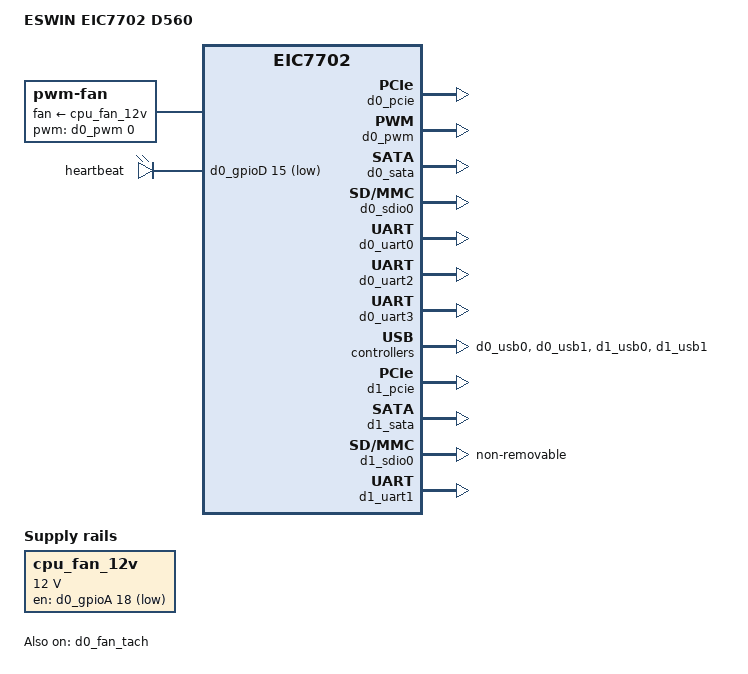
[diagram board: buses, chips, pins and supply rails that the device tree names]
// SPDX-License-Identifier: GPL-2.0-only
/*
 * ESWIN D560 carrier with the SOM560 module
 * Copyright (c) 2026 Beijing ESWIN Computing Technology Co., Ltd.
 */

/dts-v1/;

#include "eic7702-eswin-som560.dtsi"
#include <dt-bindings/gpio/gpio.h>
#include <dt-bindings/pwm/pwm.h>

/ {
	model = "ESWIN EIC7702 D560";
	compatible = "eswin,eic7702-d560", "eswin,eic7702";

	chosen {
		stdout-path = "serial0:115200n8";
	};

	pwm-fan {
		compatible = "pwm-fan";
		fan-supply = <&cpu_fan_12v>;
		/* Q24 pulls J15 pin 4 low when D0 FAN_PWM is high. */
		pwms = <&d0_pwm 0 40000 PWM_POLARITY_INVERTED>;
		fan-shutdown-percent = <100>;
	};

	cpu_fan_12v: regulator-cpu-fan {
		compatible = "regulator-fixed";
		regulator-name = "cpu-fan-12v";
		regulator-min-microvolt = <12000000>;
		regulator-max-microvolt = <12000000>;
		regulator-boot-on;
		regulator-always-on;
		pinctrl-names = "default";
		pinctrl-0 = <&d0_gpio18_pins>;
		gpio = <&d0_gpioA 18 GPIO_ACTIVE_LOW>;
	};

	leds {
		compatible = "gpio-leds";
		pinctrl-names = "default";
		pinctrl-0 = <&d0_gpio111_pins>;

		led-0 {
			gpios = <&d0_gpioD 15 GPIO_ACTIVE_LOW>;
			label = "heartbeat";
			linux,default-trigger = "heartbeat";
		};
	};
};

&d0_fan_tach {
	pinctrl-names = "default";
	pinctrl-0 = <&d0_fan_tach_pins>;
	pulses-per-revolution = <2>;
	status = "okay";
};

&d0_pcie {
	status = "okay";
	pinctrl-names = "default";
	pinctrl-0 = <&d1_gpio21_pins>;
};

&d0_gpio111_pins {
	input-disable;
	bias-disable;
};

&d0_gpio18_pins {
	input-disable;
	bias-disable;
};

&d0_pinctrl {
	pinctrl-names = "default";
	pinctrl-0 = <&d0_gpio6_pins &d0_gpio12_pins &d0_gpio39_pins
				&d0_gpio40_pins &d0_gpio41_pins &d0_gpio46_pins
				&d0_gpio47_pins &d0_gpio73_pins &d0_gpio74_pins
				&d0_gpio75_pins &d0_gpio81_pins>;
};

&d0_pwm {
	pinctrl-names = "default";
	pinctrl-0 = <&d0_fan_pwm_pins>;
	status = "okay";
};

&d0_sata {
	status = "okay";
};

&d0_sdio0 {
	eswin,drive-impedance-ohms = <33>;
	disable-wp;
	no-mmc;
	no-sdio;
	status = "okay";
};

&d0_uart0 {
	/* debug */
	status = "okay";
};

&d0_uart2 {
	/* connect mcu */
	status = "okay";
};

&d0_uart3 {
	pinctrl-names = "default";
	pinctrl-0 = <&d0_uart3_pins>;
	status = "okay";
};

&d0_usb0 {
	wakeup-source;
	snps,dis_enblslpm_quirk;
	snps,dis-u2-freeclk-exists-quirk;
	snps,dis_u2_susphy_quirk;
	snps,dis-del-phy-power-chg-quirk;
	snps,parkmode-disable-ss-quirk;
	status = "okay";
};

&d0_usb1 {
	wakeup-source;
	snps,dis_enblslpm_quirk;
	snps,dis-u2-freeclk-exists-quirk;
	snps,dis_u2_susphy_quirk;
	snps,dis-del-phy-power-chg-quirk;
	snps,parkmode-disable-ss-quirk;
	status = "okay";
};

&d1_pcie {
	status = "okay";
};

&d1_pinctrl {
	pinctrl-names = "default";
	pinctrl-0 = <&d1_gpio36_pins &d1_gpio39_pins
				&d1_gpio92_pins &d1_gpio93_pins
				&d1_gpio18_pins>;
};

&d1_sata {
	status = "okay";
};

&d1_sdio0 {
	eswin,drive-impedance-ohms = <33>;
	no-mmc;
	no-sd;
	non-removable;
	status = "okay";
};

&d1_uart1 {
	/* BT M.2 KEY-E */
	status = "okay";
};

&d1_usb0 {
	wakeup-source;
	snps,dis_enblslpm_quirk;
	snps,dis-u2-freeclk-exists-quirk;
	snps,dis_u2_susphy_quirk;
	snps,dis-del-phy-power-chg-quirk;
	snps,parkmode-disable-ss-quirk;
	status = "okay";
};

&d1_usb1 {
	wakeup-source;
	snps,dis_enblslpm_quirk;
	snps,dis-u2-freeclk-exists-quirk;
	snps,dis_u2_susphy_quirk;
	snps,dis-del-phy-power-chg-quirk;
	snps,parkmode-disable-ss-quirk;
	status = "okay";
};
